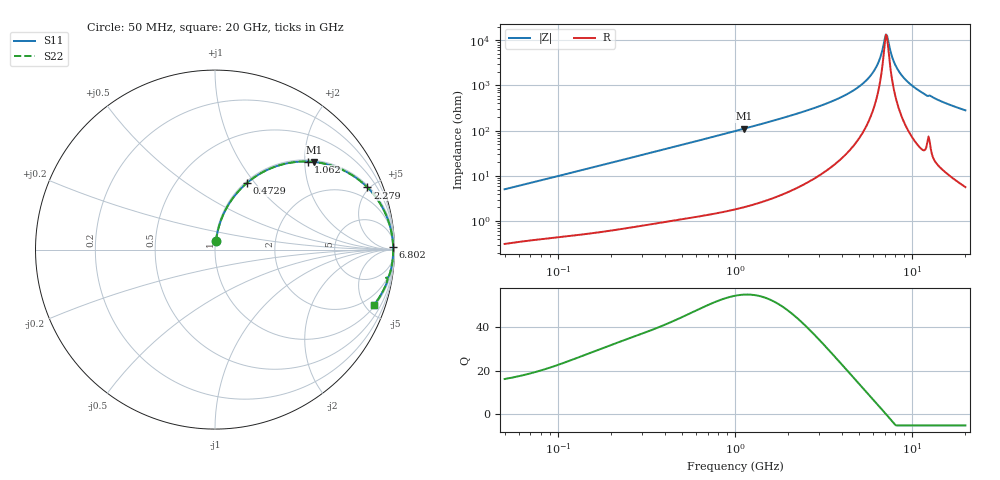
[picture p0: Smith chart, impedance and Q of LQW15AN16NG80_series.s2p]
!Murata Part Number: LQW15AN16NG80
!These Parameters are Measured in Series Mode Connection
!  o--[Z]--o
!Port1  Port2
!  o-------o
!Freq. Start=50[MHz] Stop=20[GHz], 401[Steps]
# Hz S RI R 50
!Freq.(Hz) S11(Real) S11(Imag) S21(Real) S21(Imag) S12(Real) S12(Imag) S22(Real) S22(Imag)
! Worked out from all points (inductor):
!   401 points, 50 MHz to 20 GHz, reference 50 ohm
!   read as one part in series: L = 15.9 nH near 51.52 MHz
!   highest Q = 54.6 at 1.127 GHz (marker M1), where L = 15.7 nH
!   self-resonance near 7.115 GHz
!   S11 on the Smith chart (normalised r, x): 50 MHz: 1.01, +0.10; 472.9 MHz: 1.02, +0.92; 1.062 GHz: 1.04, +2.08; 2.279 GHz: 1.11, +4.86; 6.802 GHz: open; 20 GHz: 1.11, -5.64
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5e7  0.00564 0.05  0.9944 -0.05  0.9944 -0.05  0.00564 0.05
1.364002e8  0.0224 0.1304  0.9776 -0.1304  0.9776 -0.1304  0.0224 0.1304
3.721004e8  0.1217 0.3146  0.8783 -0.3146  0.8783 -0.3146  0.1217 0.3146
4.728708e8  0.1796 0.3725  0.8204 -0.3725  0.8204 -0.3725  0.1796 0.3725
1e9  0.4899 0.4907  0.5101 -0.4907  0.5101 -0.4907  0.4899 0.4907
1.061746e9  0.5204 0.4905  0.4796 -0.4905  0.4796 -0.4905  0.5204 0.4905
1.127304e9  0.5509 0.4883  0.4491 -0.4883  0.4491 -0.4883  0.5509 0.4883
2.279204e9  0.8496 0.3461  0.1504 -0.3461  0.1504 -0.3461  0.8496 0.3461
2.728004e9  0.8971 0.2907  0.1029 -0.2907  0.1029 -0.2907  0.8971 0.2907
3.967106e9  0.9608 0.1736  0.0392 -0.1736  0.0392 -0.1736  0.9608 0.1736
5.194772e9  0.9838 0.0927  0.0162 -0.0927  0.0162 -0.0927  0.9838 0.0927
6.125241e9  0.9907 0.0446  0.00935 -0.0446  0.00935 -0.0446  0.9907 0.0446
6.503449e9  0.9919 0.0273  0.00805 -0.0273  0.00805 -0.0273  0.9919 0.0273
6.802353e9  0.9925 0.0143  0.00749 -0.0143  0.00749 -0.0143  0.9925 0.0143
7.114996e9  0.9927 0.00137  0.00726 -0.00137  0.00726 -0.00137  0.9927 0.00137
7.222371e9  0.9927 -0.00295  0.00726 0.00295  0.00726 0.00295  0.9927 -0.00295
7.442007e9  0.9926 -0.0116  0.00738 0.0116  0.00738 0.0116  0.9926 -0.0116
7.784049e9  0.9922 -0.0246  0.00783 0.0246  0.00783 0.0246  0.9922 -0.0246
8.264682e9  0.991 -0.0419  0.00898 0.0419  0.00898 0.0419  0.991 -0.0419
9.892087e9  0.9836 -0.0948  0.0164 0.0948  0.0164 0.0948  0.9836 -0.0948
1.183995e10  0.9669 -0.1514  0.0331 0.1514  0.0331 0.1514  0.9669 -0.1514
2e10  0.8835 -0.3109  0.1165 0.3109  0.1165 0.3109  0.8835 -0.3109
